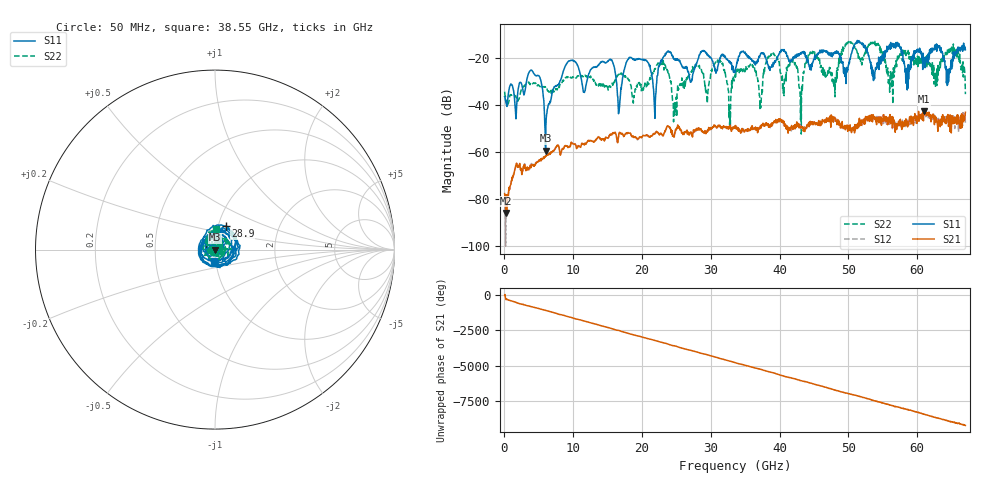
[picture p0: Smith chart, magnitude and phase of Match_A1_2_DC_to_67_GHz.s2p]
#  HZ  S  MA  R  50.00
! Rohde & Schwarz ZVA67 4Ports - Version 4.11 - 1305.7002k04 SN: 101051
! Date: 2023-05-31 11:12:31
! Measurements: S11 S21 S12 S22
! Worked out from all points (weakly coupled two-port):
!   1340 points, 50 MHz to 67 GHz, reference 50 ohm
!   highest |S21| = -42.74 dB at 61 GHz (marker M1); lowest = -86.2 dB at 250 MHz (marker M2)
!   lowest |S11| = -59.6 dB at 6 GHz (marker M3), VSWR 1.00, Z = 49.9 + j0.0146 ohm
!   |S11| at or under -10 dB: start of sweep to end of sweep
!   |S22| runs from -52.5 to -13.0 dB; largest |S21 - S12| = 0.0037
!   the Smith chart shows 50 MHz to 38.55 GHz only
!   S11 on the Smith chart (normalised r, x): 50 MHz: 0.97, +0.00; 28.9 GHz: 1.08, +0.29; 38.55 GHz: 0.98, -0.12
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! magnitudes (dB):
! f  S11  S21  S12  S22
! 50 MHz  -36.5  -77.9  -79.3  -34.4
! 250 MHz  -39.0  -86.2  -83.8  -37.8
! 3.95 GHz  -25.2  -65.8  -65.0  -31.2
! 6 GHz  -59.6  -61.7  -61.6  -32.4
! 9.3 GHz  -21.5  -58.1  -58.0  -28.1
! 11.25 GHz  -30.1  -56.4  -56.8  -27.5
! 15.45 GHz  -20.9  -52.6  -52.8  -32.6
! 16.7 GHz  -41.9  -52.0  -52.0  -26.4
! 18.8 GHz  -20.5  -53.9  -53.9  -36.4
! 22.4 GHz  -24.0  -52.1  -52.2  -22.4
! 24.75 GHz  -20.8  -52.1  -52.3  -44.4
! 28.9 GHz  -16.8  -51.7  -51.5  -27.5
! 33.55 GHz  -26.0  -49.8  -49.2  -27.2
! 37.25 GHz  -18.2  -48.9  -49.7  -41.3
! 38.55 GHz  -24.1  -49.6  -49.1  -18.9
! 43.05 GHz  -17.8  -49.3  -49.7  -46.3
! 44.7 GHz  -23.7  -48.0  -47.7  -17.3
! 47.95 GHz  -18.0  -45.8  -46.0  -32.3
! 53.65 GHz  -29.7  -45.4  -45.5  -13.4
! 55.85 GHz  -16.4  -46.0  -46.3  -30.0
! 61 GHz  -21.7  -42.7  -44.4  -21.1
! 67 GHz  -16.6  -43.2  -47.9  -35.5
